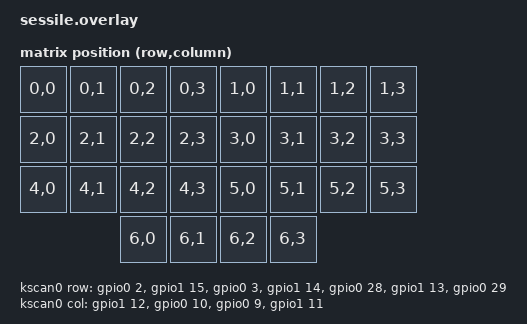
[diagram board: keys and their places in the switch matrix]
/*
* Copyright (c) 2022 The ZMK Contributors
*
* SPDX-License-Identifier: MIT
*/

#include <dt-bindings/zmk/matrix_transform.h>
#include "sessile-layouts.dtsi"

/ {
	chosen {
		zmk,kscan = &kscan0;
		zmk,physical-layout = &default_layout;
	};
	
	default_transform: keymap_transform_0 {
		compatible = "zmk,matrix-transform";
            columns = <7>;
            rows = <4>;
		
            map = <
            RC(0,0) RC(0,1) RC(0,2) RC(0,3)  RC(1,0) RC(1,1) RC(1,2) RC(1,3)  
            RC(2,0) RC(2,1) RC(2,2) RC(2,3)  RC(3,0) RC(3,1) RC(3,2) RC(3,3)
            RC(4,0) RC(4,1) RC(4,2) RC(4,3)  RC(5,0) RC(5,1) RC(5,2) RC(5,3)
                            RC(6,0) RC(6,1)  RC(6,2) RC(6,3)
            >;
	};
	// RESET: GPIO 0.18
	// NFC: GPIO 0.9 and 0.10
	// PDM: GPIO 0.16, 1.0, and 1.10 (top to bottom on right side of PDM pad)
	// https://www.reddit.com/r/olkb/comments/11hl7is/extra_gpio_on_seeed_xiao_controllers_via_zmk/

	
	kscan0: kscan {

            compatible = "zmk,kscan-gpio-matrix";
            wakeup-source;
            diode-direction = "row2col";
            col-gpios
                = <&gpio1 12 (GPIO_ACTIVE_HIGH | GPIO_PULL_DOWN)>
                , <&gpio0 10 (GPIO_ACTIVE_HIGH | GPIO_PULL_DOWN)>
                , <&gpio0 9 (GPIO_ACTIVE_HIGH | GPIO_PULL_DOWN)>
                , <&gpio1 11 (GPIO_ACTIVE_HIGH | GPIO_PULL_DOWN)>
                ;
            row-gpios
                = <&gpio0 2 GPIO_ACTIVE_HIGH>
                , <&gpio1 15 GPIO_ACTIVE_HIGH>
                , <&gpio0 3 GPIO_ACTIVE_HIGH>
                , <&gpio1 14 GPIO_ACTIVE_HIGH> 
                , <&gpio0 28 GPIO_ACTIVE_HIGH> 
                , <&gpio1 13 GPIO_ACTIVE_HIGH> 
                , <&gpio0 29 GPIO_ACTIVE_HIGH> 
                ;
    };
};
